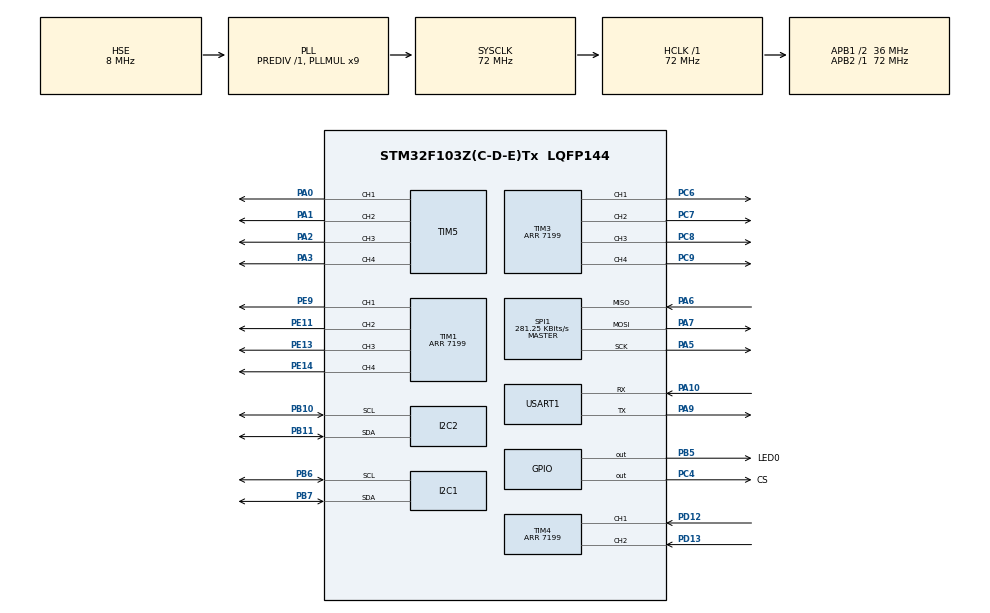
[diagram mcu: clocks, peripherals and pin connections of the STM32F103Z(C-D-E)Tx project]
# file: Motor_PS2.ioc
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Mcu.Family=STM32F1
Mcu.Name=STM32F103Z(C-D-E)Tx
Mcu.Package=LQFP144
NVIC.PriorityGroup=NVIC_PRIORITYGROUP_4
NVIC.TIM2_IRQn=true\:1\:0\:true\:false\:true\:true\:true
NVIC.TIM4_IRQn=true\:0\:0\:false\:false\:true\:true\:true
OSC_IN.Mode=HSE-External-Oscillator
OSC_IN.Signal=RCC_OSC_IN
OSC_OUT.Mode=HSE-External-Oscillator
OSC_OUT.Signal=RCC_OSC_OUT
PA0-WKUP.Signal=S_TIM5_CH1
PA1.Signal=S_TIM5_CH2
PA10.Mode=Asynchronous
PA10.Signal=USART1_RX
PA13.Mode=Serial_Wire
PA13.Signal=SYS_JTMS-SWDIO
PA14.Mode=Serial_Wire
PA14.Signal=SYS_JTCK-SWCLK
PA2.Signal=S_TIM5_CH3
PA3.Signal=S_TIM5_CH4
PA5.Mode=Full_Duplex_Master
PA5.Signal=SPI1_SCK
PA6.Mode=Full_Duplex_Master
PA6.Signal=SPI1_MISO
PA7.Mode=Full_Duplex_Master
PA7.Signal=SPI1_MOSI
PA9.Mode=Asynchronous
PA9.Signal=USART1_TX
PB10.Mode=I2C
PB10.Signal=I2C2_SCL
PB11.Mode=I2C
PB11.Signal=I2C2_SDA
PB5.GPIO_Label=LED0
PB5.GPIO_Speed=GPIO_SPEED_FREQ_HIGH
PB5.PinState=GPIO_PIN_SET
PB5.Signal=GPIO_Output
PB6.Mode=I2C
PB6.Signal=I2C1_SCL
PB7.Mode=I2C
PB7.Signal=I2C1_SDA
PC14-OSC32_IN.Mode=LSE-External-Oscillator
PC14-OSC32_IN.Signal=RCC_OSC32_IN
PC15-OSC32_OUT.Mode=LSE-External-Oscillator
PC15-OSC32_OUT.Signal=RCC_OSC32_OUT
PC4.GPIO_Label=CS
PC4.PinState=GPIO_PIN_SET
PC4.Signal=GPIO_Output
PC6.Signal=S_TIM3_CH1
PC7.Signal=S_TIM3_CH2
PC8.Signal=S_TIM3_CH3
PC9.Signal=S_TIM3_CH4
PD12.Signal=S_TIM4_CH1
PD13.Signal=S_TIM4_CH2
PE11.Signal=S_TIM1_CH2
PE13.Signal=S_TIM1_CH3
PE14.Signal=S_TIM1_CH4
PE9.Signal=S_TIM1_CH1
ProjectManager.HeapSize=0x200
ProjectManager.StackSize=0x400
ProjectManager.TargetToolchain=MDK-ARM V5.32
RCC.AHBFreq_Value=72000000
RCC.APB1CLKDivider=RCC_HCLK_DIV2
RCC.APB1Freq_Value=36000000
RCC.APB1TimFreq_Value=72000000
RCC.APB2Freq_Value=72000000
RCC.APB2TimFreq_Value=72000000
RCC.HCLKFreq_Value=72000000
RCC.PLLMUL=RCC_PLL_MUL9
RCC.PLLSourceVirtual=RCC_PLLSOURCE_HSE
RCC.SYSCLKFreq_VALUE=72000000
RCC.SYSCLKSource=RCC_SYSCLKSOURCE_PLLCLK
RCC.USBFreq_Value=72000000
SH.S_TIM1_CH1.0=TIM1_CH1,PWM Generation1 CH1
SH.S_TIM1_CH2.0=TIM1_CH2,PWM Generation2 CH2
SH.S_TIM1_CH3.0=TIM1_CH3,PWM Generation3 CH3
SH.S_TIM1_CH4.0=TIM1_CH4,PWM Generation4 CH4
SH.S_TIM3_CH1.0=TIM3_CH1,PWM Generation1 CH1
SH.S_TIM3_CH2.0=TIM3_CH2,PWM Generation2 CH2
SH.S_TIM3_CH3.0=TIM3_CH3,PWM Generation3 CH3
SH.S_TIM3_CH4.0=TIM3_CH4,PWM Generation4 CH4
SH.S_TIM4_CH1.0=TIM4_CH1,Encoder_Interface
SH.S_TIM4_CH2.0=TIM4_CH2,Encoder_Interface
SH.S_TIM5_CH1.0=TIM5_CH1,PWM Generation1 CH1
SH.S_TIM5_CH2.0=TIM5_CH2,PWM Generation2 CH2
SH.S_TIM5_CH3.0=TIM5_CH3,PWM Generation3 CH3
SH.S_TIM5_CH4.0=TIM5_CH4,PWM Generation4 CH4
SPI1.BaudRatePrescaler=SPI_BAUDRATEPRESCALER_256
SPI1.CLKPhase=SPI_PHASE_1EDGE
SPI1.CLKPolarity=SPI_POLARITY_HIGH
SPI1.CalculateBaudRate=281.25 KBits/s
SPI1.Direction=SPI_DIRECTION_2LINES
SPI1.FirstBit=SPI_FIRSTBIT_LSB
SPI1.Mode=SPI_MODE_MASTER
SPI1.VirtualType=VM_MASTER
TIM1.Channel-PWM\ Generation1\ CH1=TIM_CHANNEL_1
TIM1.Channel-PWM\ Generation2\ CH2=TIM_CHANNEL_2
TIM1.Channel-PWM\ Generation3\ CH3=TIM_CHANNEL_3
TIM1.Channel-PWM\ Generation4\ CH4=TIM_CHANNEL_4
TIM1.Period=7199
TIM2.AutoReloadPreload=TIM_AUTORELOAD_PRELOAD_ENABLE
TIM2.Period=99
TIM2.Prescaler=7199
TIM3.AutoReloadPreload=TIM_AUTORELOAD_PRELOAD_DISABLE
TIM3.Channel-PWM\ Generation1\ CH1=TIM_CHANNEL_1
TIM3.Channel-PWM\ Generation2\ CH2=TIM_CHANNEL_2
TIM3.Channel-PWM\ Generation3\ CH3=TIM_CHANNEL_3
TIM3.Channel-PWM\ Generation4\ CH4=TIM_CHANNEL_4
TIM3.Period=7199
TIM4.Period=7199
TIM5.Channel-PWM\ Generation1\ CH1=TIM_CHANNEL_1
TIM5.Channel-PWM\ Generation2\ CH2=TIM_CHANNEL_2
TIM5.Channel-PWM\ Generation3\ CH3=TIM_CHANNEL_3
TIM5.Channel-PWM\ Generation4\ CH4=TIM_CHANNEL_4
USART1.VirtualMode=VM_ASYNC
VP_TIM2_VS_ClockSourceINT.Mode=Internal
board=custom

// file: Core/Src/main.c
/* USER CODE BEGIN Header */
/**
  ******************************************************************************
  * @file           : main.c
  * @brief          : Main program body
  ******************************************************************************
  * @attention
  *
  * Copyright (c) 2023 STMicroelectronics.
  * All rights reserved.
  *
  * This software is licensed under terms that can be found in the LICENSE file
  * in the root directory of this software component.
  * If no LICENSE file comes with this software, it is provided AS-IS.
  *
  ******************************************************************************
  */
/* USER CODE END Header */
#include "main.h"
#include "i2c.h"
#include "spi.h"
#include "tim.h"
#include "usart.h"
#include "gpio.h"

/* USER CODE BEGIN Includes */
#include "stdio.h"
#include "math.h"
#include "ps2.h"
#include "sys.h"
#include "delay.h"
#include "stm32_pca9685.h"
#include "stdlib.h"
#include "string.h"
/* USER CODE END Includes */

/* USER CODE BEGIN PV */
unsigned char Counter_of_Stop = 0,Counter_of_Judge=0;

unsigned int MotorSpeed_right_front,MotorSpeed_right_rear,MotorSpeed_left_front,MotorSpeed_left_rear;  // Output to Motor
int MotorDirection_right_front,MotorDirection_right_rear,MotorDirection_left_front,MotorDirection_left_rear; // Output Direction to Motor
// int MotorOutput_right_front,MotorOutput_left_front,MotorOutput_right_rear,MotorOutput_left_rear;		  // Motor Current Speed, get by Encoder

uint8_t cmd[3] = {0x01,0x42,0x00};
uint8_t PS2data[9] = {0x00,0x00,0x00,0x00,0x00,0x00,0x00,0x00,0x00};

int Motor_Judge=0;

int state_plate=0;
int state_box=0;
int Num_plate=0;
int Num_box=0;

float p_m=1.0,i_m=0,d_m=0;
float Last_error_m,Last_Last_error_m,Last_Position_PID_result;
/* USER CODE END PV */

void SystemClock_Config(void);

/* USER CODE BEGIN 0 */

int fputc(int ch, FILE *p)
{
	while((USART1->SR&0X40)==0);
	USART1->DR = ch;

	return ch;
}

void PS2_Get(void)
{
	uint8_t i = 0;

	HAL_GPIO_WritePin(GPIOC, GPIO_PIN_4,GPIO_PIN_RESET);

	HAL_SPI_TransmitReceive(&hspi1,&cmd[0],&PS2data[0],1,0xffff);
	delay_us(10);
	HAL_SPI_TransmitReceive(&hspi1,&cmd[1],&PS2data[1],1,0xffff);
	delay_us(10);
	HAL_SPI_TransmitReceive(&hspi1,&cmd[2],&PS2data[2],1,0xffff);
	delay_us(10);
	for(i = 3;i <9;i++)
	{
		HAL_SPI_TransmitReceive(&hspi1,&cmd[2],&PS2data[i],1,0xffff);
		delay_us(10);
	}
  /* print PS2 signal
		for(i=0;i<9;i++)
	{
	  printf("PS2:%d \r\n",PS2data[i]);
	}
	*/
	HAL_GPIO_WritePin(GPIOC, GPIO_PIN_4,GPIO_PIN_SET);
}

void Set_Motor_Speed_right_front(int direction,int duty_cycle)
{
	if(direction==1) // forward
  {
		__HAL_TIM_SET_COMPARE(&htim3, TIM_CHANNEL_4, 0);
		__HAL_TIM_SET_COMPARE(&htim3, TIM_CHANNEL_1, duty_cycle);
	}
	if(direction==0) // back
  {
		__HAL_TIM_SET_COMPARE(&htim3, TIM_CHANNEL_1, 0);
		__HAL_TIM_SET_COMPARE(&htim3, TIM_CHANNEL_4, duty_cycle);
	}
}

void Set_Motor_Speed_right_rear(int direction,int duty_cycle)
{
	if(direction==1) // forward
  {
		__HAL_TIM_SET_COMPARE(&htim3, TIM_CHANNEL_3, 0);
		__HAL_TIM_SET_COMPARE(&htim3, TIM_CHANNEL_2, duty_cycle);
	}
	if(direction==0) // back
  {
		__HAL_TIM_SET_COMPARE(&htim3, TIM_CHANNEL_2, 0);
		__HAL_TIM_SET_COMPARE(&htim3, TIM_CHANNEL_3, duty_cycle);
	}
}

void Set_Motor_Speed_left_front(int direction,int duty_cycle)
{
	if(direction==1) // forward
  {
		__HAL_TIM_SET_COMPARE(&htim1, TIM_CHANNEL_2, 0);
		__HAL_TIM_SET_COMPARE(&htim1, TIM_CHANNEL_3, duty_cycle);
	}
	if(direction==0) // back
  {
		__HAL_TIM_SET_COMPARE(&htim1, TIM_CHANNEL_3, 0);
		__HAL_TIM_SET_COMPARE(&htim1, TIM_CHANNEL_2, duty_cycle);
	}
}

void Set_Motor_Speed_left_rear(int direction,int duty_cycle)
{
	if(direction==1) // forward
  {
		__HAL_TIM_SET_COMPARE(&htim1, TIM_CHANNEL_1, 0);
		__HAL_TIM_SET_COMPARE(&htim1, TIM_CHANNEL_4, duty_cycle);
	}
	if(direction==0) // back
  {
		__HAL_TIM_SET_COMPARE(&htim1, TIM_CHANNEL_4, 0);
		__HAL_TIM_SET_COMPARE(&htim1, TIM_CHANNEL_1, duty_cycle);
	}
}

void Back_Plate(int s)
{
	if(s==0)
	{
	PCA_MG9XX(8,70);
	PCA_MG9XX(10,110);
	state_plate=1;
	}
  if(s==1)
	{
  PCA_MG9XX(8,170);
	PCA_MG9XX(10,10);
	state_plate=0;
  }
}

void Limit_box(int s)
{
	if(s==0)
	{
	PCA_MG9XX(1,110);
	PCA_MG9XX(3,70);
	state_box=1;
	}
  if(s==1)
	{
  PCA_MG9XX(1,0);
	PCA_MG9XX(3,171);
	state_box=0;
  }
}

int Dec_to_Bin(int n)
{
    int sum = 0;
    int y, x = 1;
    while (n != 0)
    {
        y = n % 2;
        sum += x * y;
        x *= 10;
        n /= 2;
    }
    return sum;
}

int PID_control(int Encoder_motor_speed,int Set_motor_speed)
{
  float error_m=Set_motor_speed -Encoder_motor_speed;
	float Increment_PID_result=p_m*(error_m-Last_error_m) + i_m*error_m + d_m * (error_m - 2*Last_error_m + Last_Last_error_m);
	Last_Last_error_m=Last_error_m;
	Last_error_m=error_m;
	float result=Last_Position_PID_result+Increment_PID_result;
	Last_Position_PID_result=Last_Position_PID_result+Increment_PID_result;
  return (int)result;
}

/* USER CODE END 0 */

int main(void)
{

  /* MCU Configuration--------------------------------------------------------*/

  /* Reset of all peripherals, Initializes the Flash interface and the Systick. */
  HAL_Init();

  /* Configure the system clock */
  SystemClock_Config();

  /* Initialize all configured peripherals */
  MX_GPIO_Init();
  MX_TIM1_Init();
  MX_TIM2_Init();
  MX_TIM4_Init();
  MX_USART1_UART_Init();
  MX_SPI1_Init();
  MX_TIM3_Init();
  MX_I2C2_Init();
  MX_I2C1_Init();
  MX_TIM5_Init();
	PCA_MG9XX_Init(60,90);
  /* USER CODE BEGIN 2 */
	// PCA_MG9XX_Init(60,90); // put into /* Initialize all configured peripherals */ zone, otherwise have no effect
  HAL_TIM_PWM_Start(&htim1, TIM_CHANNEL_1);	    // TIM1_CH1(pwm)
	HAL_TIM_PWM_Start(&htim1, TIM_CHANNEL_2);	    // TIM1_CH2(pwm)
	HAL_TIM_PWM_Start(&htim1, TIM_CHANNEL_3);	    // TIM1_CH3(pwm)
	HAL_TIM_PWM_Start(&htim1, TIM_CHANNEL_4);	    // TIM1_CH4(pwm)
	HAL_TIM_PWM_Start(&htim3, TIM_CHANNEL_1);	    // TIM3_CH1(pwm)
	HAL_TIM_PWM_Start(&htim3, TIM_CHANNEL_2);	    // TIM3_CH2(pwm)
	HAL_TIM_PWM_Start(&htim3, TIM_CHANNEL_3);	    // TIM3_CH3(pwm)
	HAL_TIM_PWM_Start(&htim3, TIM_CHANNEL_4);	    // TIM3_CH4(pwm)

  HAL_TIM_Encoder_Start(&htim4, TIM_CHANNEL_1); // Open Encoder A
  HAL_TIM_Encoder_Start(&htim4, TIM_CHANNEL_2); // Open Encoder B

  HAL_TIM_Base_Start_IT(&htim2);                // Enable Timer2 Stop

	delay_init(168);
	PS2_SetInit();
	delay_ms(500);

	// additional servo initialize
  PCA_MG9XX(8,80);
	PCA_MG9XX(10,100);
  /* USER CODE END 2 */

  /* Infinite loop */
  /* USER CODE BEGIN WHILE */
  while (1)
  {
			char str_3[8];
			sprintf(str_3,"%d",Dec_to_Bin((int)PS2data[3]));
			// printf("PS2(Byte 3):%s \r\n",str_3);

			char str_4[8];
			sprintf(str_4,"%d",Dec_to_Bin((int)PS2data[4]));
      // printf("PS2(Byte 4):%s \r\n",str_4);

			if(str_3[6]=='0') // left joystick buttom (Verify Available)
      {
				if(Motor_Judge==0) Motor_Judge=1;
			}

			if(str_4[6]=='0') // R3 buttom (Verify Available)
			{
				Num_box++;
				if(Num_box>1000)
				{
				Limit_box(state_box);
				Num_box=0;
				}
			}

			if(str_4[7]=='0') // L3 buttom (Verify Available)
			{
				Num_plate++;
				if(Num_plate>1000)
				{
				Back_Plate(state_plate);
				Num_plate=0;
				}
			}

      if(Motor_Judge==1 && PS2data[1]==115) // red LED mode, start to Control through PS2
			{

				// Initialize
				MotorSpeed_right_front=0;
				MotorSpeed_right_rear=0;
				MotorSpeed_left_front=0;
				MotorSpeed_left_rear=0;
				MotorDirection_right_front=1;
				MotorDirection_right_rear=1;
				MotorDirection_left_front=1;
				MotorDirection_left_rear=1;

				if(PS2data[8]<120) // left joystick, forward speed (Verify available)
			  {
					MotorSpeed_right_front=7200+((127-PS2data[8])/128*200);
					MotorSpeed_right_rear=6900+((127-PS2data[8])/128*200);
					MotorSpeed_left_front=6900+((127-PS2data[8])/128*200);
					MotorSpeed_left_rear=6900+((127-PS2data[8])/128*200);

					MotorDirection_right_front=1;
					MotorDirection_right_rear=1;
					MotorDirection_left_front=1;
					MotorDirection_left_rear=1;
				}
				if(PS2data[8]>135 && PS2data[8]<=255) // left joystick, back speed (Verify Available)
			  {
          MotorSpeed_right_front=5500+((PS2data[8]-127)/128*800);
					MotorSpeed_right_rear=5500+((PS2data[8]-127)/128*800);
					MotorSpeed_left_front=5500+((PS2data[8]-127)/128*800);
					MotorSpeed_left_rear=5500+((PS2data[8]-127)/128*800);

					MotorDirection_right_front=0;
					MotorDirection_right_rear=0;
					MotorDirection_left_front=0;
					MotorDirection_left_rear=0;
			  }
				/*
				if(PS2data[7]<120) // left joystick, left turn
			  {
					MotorSpeed_left_front-=(127-PS2data[7])/128*1500;
					MotorSpeed_left_rear-=(127-PS2data[7])/128*1500;
			  }
				if(PS2data[7]>135 && PS2data[7]<=255) // left joystick, right turn
			  {
					MotorSpeed_right_front-=(PS2data[7]-127)/128*1500;
					MotorSpeed_right_rear-=(PS2data[7]-127)/128*1500;
				}
				*/
				if(PS2data[5]<120) // right joystick, left rotation (Verify Available)
			  {
					unsigned int Motorspeed_left_rotation=(127-PS2data[5])/127*5600;
					MotorSpeed_right_front=Motorspeed_left_rotation;
					MotorSpeed_right_rear=Motorspeed_left_rotation;
					MotorSpeed_left_front=Motorspeed_left_rotation;
					MotorSpeed_left_rear=Motorspeed_left_rotation;
					MotorDirection_right_front=1;
					MotorDirection_right_rear=1;
					MotorDirection_left_front=0;
					MotorDirection_left_rear=0;
			  }
				if(PS2data[5]>135 && PS2data[5]<=255) // right joystick, right rotation (Verify available)
			  {
					unsigned int Motorspeed_right_rotation=(PS2data[5]-127)/(255-127)*5600;
					MotorSpeed_right_front=Motorspeed_right_rotation;
					MotorSpeed_right_rear=Motorspeed_right_rotation;
					MotorSpeed_left_front=Motorspeed_right_rotation;
					MotorSpeed_left_rear=Motorspeed_right_rotation;
					MotorDirection_right_front=0;
					MotorDirection_right_rear=0;
					MotorDirection_left_front=1;
					MotorDirection_left_rear=1;
			  }

				if(str_4[4]=='0') // R2, pan right (Not available)
			  {
				  MotorSpeed_right_front=6500;
					MotorSpeed_right_rear=6400;
					MotorSpeed_left_front=7000;
					MotorSpeed_left_rear=7500;
					MotorDirection_right_front=0;
					MotorDirection_right_rear=1;
					MotorDirection_left_front=1;
					MotorDirection_left_rear=0;
			  }
				if(str_4[5]=='0')  // L2, pan left (Not available)
			  {
				  MotorSpeed_right_front=6600;
					MotorSpeed_right_rear=6600;
					MotorSpeed_left_front=6600;
					MotorSpeed_left_rear=6600;
					MotorDirection_right_front=1;
					MotorDirection_right_rear=0;
					MotorDirection_left_front=0;
					MotorDirection_left_rear=1;
			  }

				if(str_3[5]=='0') // right joystick buttom, brake (Verify Available)
        {
          MotorSpeed_right_front=0;
					MotorSpeed_right_rear=0;
					MotorSpeed_left_front=0;
					MotorSpeed_left_rear=0;
					MotorDirection_right_front=0;
					MotorDirection_right_rear=0;
					MotorDirection_left_front=0;
					MotorDirection_left_rear=0;
			  }

				if(PS2data[8]>115 && PS2data[8]<135 && PS2data[5]>115 && PS2data[5]<135 && str_4[4]=='1' && str_4[5]=='1') // left joystick, keep stop (Verify Available)
			  {
          MotorSpeed_right_front=0;
					MotorSpeed_right_rear=0;
					MotorSpeed_left_front=0;
					MotorSpeed_left_rear=0;
					MotorDirection_right_front=0;
					MotorDirection_right_rear=0;
					MotorDirection_left_front=0;
					MotorDirection_left_rear=0;
			  }
			}

      if(Motor_Judge==1 && PS2data[1]==65) // green LED mode (Not available)
			{
				  MotorSpeed_right_front=0;
					MotorSpeed_right_rear=0;
					MotorSpeed_left_front=0;
					MotorSpeed_left_rear=0;
					MotorDirection_right_front=0;
					MotorDirection_right_rear=0;
					MotorDirection_left_front=0;
					MotorDirection_left_rear=0;
			}
	}
    /* USER CODE END WHILE */

}

void SystemClock_Config(void)
{
  RCC_OscInitTypeDef RCC_OscInitStruct = {0};
  RCC_ClkInitTypeDef RCC_ClkInitStruct = {0};

  /** Initializes the RCC Oscillators according to the specified parameters
  * in the RCC_OscInitTypeDef structure.
  */
  RCC_OscInitStruct.OscillatorType = RCC_OSCILLATORTYPE_HSE;
  RCC_OscInitStruct.HSEState = RCC_HSE_ON;
  RCC_OscInitStruct.HSEPredivValue = RCC_HSE_PREDIV_DIV1;
  RCC_OscInitStruct.HSIState = RCC_HSI_ON;
  RCC_OscInitStruct.PLL.PLLState = RCC_PLL_ON;
  RCC_OscInitStruct.PLL.PLLSource = RCC_PLLSOURCE_HSE;
  RCC_OscInitStruct.PLL.PLLMUL = RCC_PLL_MUL9;
  if (HAL_RCC_OscConfig(&RCC_OscInitStruct) != HAL_OK)
  {
    Error_Handler();
  }
  /** Initializes the CPU, AHB and APB buses clocks
  */
  RCC_ClkInitStruct.ClockType = RCC_CLOCKTYPE_HCLK|RCC_CLOCKTYPE_SYSCLK
                              |RCC_CLOCKTYPE_PCLK1|RCC_CLOCKTYPE_PCLK2;
  RCC_ClkInitStruct.SYSCLKSource = RCC_SYSCLKSOURCE_PLLCLK;
  RCC_ClkInitStruct.AHBCLKDivider = RCC_SYSCLK_DIV1;
  RCC_ClkInitStruct.APB1CLKDivider = RCC_HCLK_DIV2;
  RCC_ClkInitStruct.APB2CLKDivider = RCC_HCLK_DIV1;

  if (HAL_RCC_ClockConfig(&RCC_ClkInitStruct, FLASH_LATENCY_2) != HAL_OK)
  {
    Error_Handler();
  }
}

/* USER CODE BEGIN 4 */

void HAL_TIM_PeriodElapsedCallback(TIM_HandleTypeDef *htim)
{
    if (htim == (&htim2))// Tim2 Stop happen
    {

			  Counter_of_Stop++;

        if(Counter_of_Stop>1)
        {
          // Oberserve the LED to judge if enter the timer stop
          // HAL_GPIO_TogglePin(GPIOD, GPIO_PIN_2);

					// print Encoder value,short (-32768 - 32767)
          // printf("Encoder_rr = %d motor_rr = %d \r\n",MotorSpeed_right_rear,MotorOutput_right_rear);
					// printf("Encoder_rf = %d motor_rf = %d \r\n",MotorSpeed_right_front,MotorOutput_right_front);
					// printf("Encoder_lr = %d motor_lr = %d \r\n",MotorSpeed_left_rear,MotorOutput_left_rear);
					// printf("Encoder_lf = %d motor_lf = %d \r\n",MotorSpeed_left_front,MotorOutput_left_front);

					PS2_Get();
					/*
					char str_3[8];
			    sprintf(str_3,"%d",Dec_to_Bin((int)PS2data[3]));
          printf("PS2(Byte 3):%s \r\n",str_3);
					char str_4[8];
			    sprintf(str_4,"%d",Dec_to_Bin((int)PS2data[4]));
          printf("PS2(Byte 4):%s \r\n",str_4);
					printf("PS2(Byte 1):%d \r\n",PS2data[1]);
          printf("PS2(Byte 4):%d \r\n",PS2data[4]);
					printf("PS2(Byte 5):%d \r\n",PS2data[5]);
				  printf("PS2(Byte 6):%d \r\n",PS2data[6]);
					printf("PS2(Byte 7):%d \r\n",PS2data[7]);
				  printf("PS2(Byte 8):%d \r\n",PS2data[8]);
					printf("Judge:%d \r\n",Motor_Judge);
					*/
					Counter_of_Stop=0;
        }

        //1.Get Motor Speed

				// MotorSpeed_right_rear = (short)(__HAL_TIM_GET_COUNTER(&htim4)/18);
        // MotorOutput_right_rear=MotorOutput_right_rear*100/7200;
        // TIM get motor inpulse,the inpulse get by 10ms / 18 is the real rpm
        // __HAL_TIM_SET_COUNTER(&htim4,0);  // Timer return 0

        //2.Input the Duty Cycle
				/*
				printf("MotorSpeed_right_front:%d \r\n",MotorSpeed_right_front);
				printf("MotorSpeed_right_rear:%d \r\n",MotorSpeed_right_rear);
				printf("MotorSpeed_left_front:%d \r\n",MotorSpeed_left_front);
				printf("MotorSpeed_left_rear:%d \r\n",MotorSpeed_left_rear);
				*/
				if(Motor_Judge==1 && PS2data[1]==115)
				{
				Set_Motor_Speed_right_front(MotorDirection_right_front,MotorSpeed_right_front);
				Set_Motor_Speed_right_rear(MotorDirection_right_rear,MotorSpeed_right_rear);
				Set_Motor_Speed_left_front(MotorDirection_left_front,MotorSpeed_left_front);
				Set_Motor_Speed_left_rear(MotorDirection_left_rear,MotorSpeed_left_rear);
				}
    }
}
/* USER CODE END 4 */

void Error_Handler(void)
{
  __disable_irq();
  while (1)
  {
  }
}
